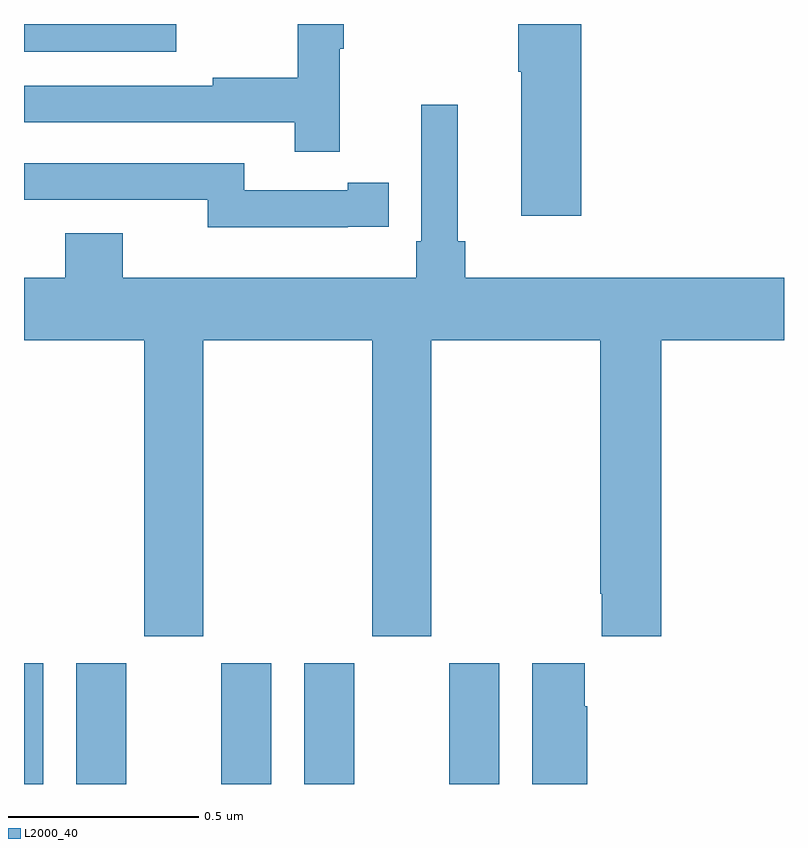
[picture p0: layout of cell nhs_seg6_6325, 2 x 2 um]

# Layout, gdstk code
import gdstk
lib = gdstk.Library(unit=1e-6, precision=1e-09)
def R(c, l, rs):  # rectangles x0, y0, x1, y1
    for r in rs: c.add(gdstk.rectangle(r[:2], r[2:], *l))
def P(c, l, *ps):  # polygons
    for p in ps: c.add(gdstk.Polygon(p, *l))
L2000_40 = (2000, 40)

nhs_seg6_6325 = lib.new_cell('nhs_seg6_6325')
R(nhs_seg6_6325, L2000_40, [(194,947.5,194.05,947.818), (194.138,947.5,194.269,947.818), (194.519,947.5,194.65,947.818), (194.738,947.5,194.869,947.818), (195.119,947.5,195.25,947.818), (194,949.427,194.401,949.5)])
P(nhs_seg6_6325, L2000_40, [(195.467,949.5),(195.301,949.5),(195.301,949.375),(195.308,949.375),(195.308,948.996),(195.467,948.996)],
  [(194.831,949.435),(194.842,949.435),(194.842,949.5),(194.721,949.5),(194.721,949.358),(194.497,949.358),(194.497,949.338),(194,949.338),(194,949.242),(194.713,949.242),(194.713,949.164),(194.831,949.164)],
  [(195.072,948.668),(195.517,948.668),(195.517,948.001),(195.521,948.001),(195.521,947.889),(195.677,947.889),(195.677,948.668),(196,948.668),(196,948.832),(195.161,948.832),(195.161,948.928),(195.142,948.928),(195.142,949.288),(195.045,949.288),(195.045,948.928),(195.032,948.928),(195.032,948.832),(194.26,948.832),(194.26,948.949),(194.108,948.949),(194.108,948.832),(194,948.832),(194,948.668),(194.317,948.668),(194.317,947.889),(194.472,947.889),(194.472,948.668),(194.917,948.668),(194.917,947.889),(195.072,947.889)],
  [(194.852,948.966),(194.96,948.966),(194.96,949.082),(194.852,949.082),(194.852,949.062),(194.58,949.062),(194.58,949.134),(194,949.134),(194,949.037),(194.024,949.037),(194.024,949.038),(194.484,949.038),(194.484,948.965),(194.852,948.965)],
  [(195.482,947.705),(195.475,947.705),(195.475,947.818),(195.338,947.818),(195.338,947.5),(195.482,947.5)])

lib.write_gds('nhs_seg6_6325.gds')
